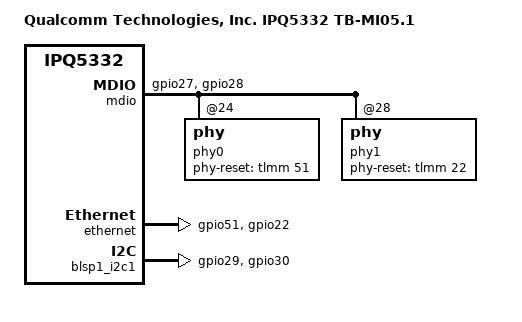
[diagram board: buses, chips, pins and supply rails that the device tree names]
// SPDX-License-Identifier: GPL-2.0-only
/*
 * Copyright (c) Qualcomm Technologies, Inc. and/or its subsidiaries.
 */

/dts-v1/;

#include "ipq5332-rdp-common.dtsi"
#include "ipq5332-rdp-common-ub.dtsi"

/ {
	model = "Qualcomm Technologies, Inc. IPQ5332 TB-MI05.1";
	compatible = "qcom,ipq5332-tb-mi05.1", "qcom,ipq5332";

	soc@0 {
		mdio: mdio@90000 {
			pinctrl-names = "default";
			pinctrl-0 = <&mdio_pinmux>;
			status = "okay";

			phy0: phy@24 {
				phy-reset-gpio = <&tlmm 51 0>;
				phy_addr = <24>;
				phy_type = <QCA8081_PHY_TYPE>;
				id = <1>;
				uniphy_id = <0>;
				uniphy_type = <0>;
				max_speed = <2500>;
				xgmac;
			};

			phy1: phy@28 {
				phy-reset-gpio = <&tlmm 22 0>;
				phy_addr = <28>;
				phy_type = <QCA8081_PHY_TYPE>;
				id = <2>;
				uniphy_id = <1>;
				uniphy_type = <0>;
				max_speed = <2500>;
				xgmac;
			};
		};

		ethernet: nss-switch {
			pinctrl-names = "default";
			pinctrl-0 = <&phy_rst_pinmux>;
			phy-handle0 = <&phy0>;
			phy-handle1 = <&phy1>;
			status = "okay";
		};
	};
};

&tlmm {
	mdio_pinmux: mdio {
		mdc {
			pins = "gpio27";
			function = "mdc1";
			drive-strength = <8>;
			bias-disable;
		};

		mdio {
			pins = "gpio28";
			function = "mdio1";
			drive-strength = <8>;
			bias-pull-up;
		};
	};

	phy_rst_pinmux: phy_rst {
		qti_8081_lan_rst {
			pins = "gpio51";
			drive-strength = <8>;
			bias-pull-up;
		};

		qti_8081_wan_rst {
			pins = "gpio22";
			drive-strength = <8>;
			bias-pull-up;
		};
	};

	blsp1_i2c1_pinmux: blsp1_i2c1_pins {
		blsp1_scl {
			pins = "gpio29";
			function = "blsp1_i2c0";
			drive-strength = <8>;
			bias-pull-up;
		};

		blsp1_sda {
			pins = "gpio30";
			function = "blsp1_i2c0";
			drive-strength = <8>;
			bias-pull-up;
		};
	};
};

&blsp1_i2c1 {
	pinctrl-names = "default";
	pinctrl-0 = <&blsp1_i2c1_pinmux>;
	status = "okay";
};
